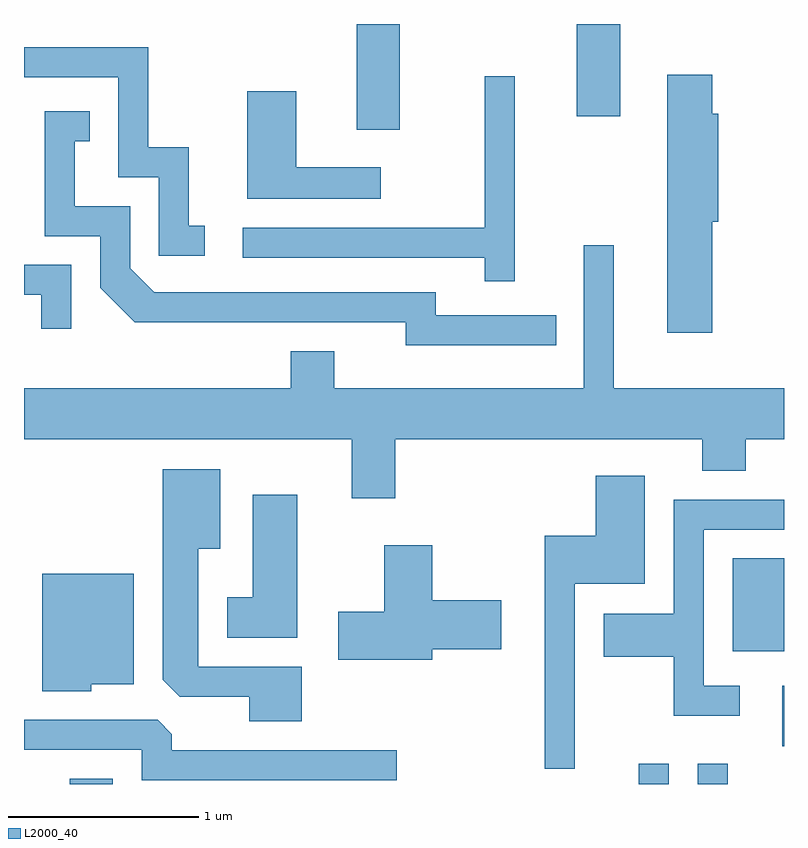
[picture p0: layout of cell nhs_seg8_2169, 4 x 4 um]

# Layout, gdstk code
import gdstk
lib = gdstk.Library(unit=1e-6, precision=1e-09)
def R(c, l, rs):  # rectangles x0, y0, x1, y1
    for r in rs: c.add(gdstk.rectangle(r[:2], r[2:], *l))
def P(c, l, *ps):  # polygons
    for p in ps: c.add(gdstk.Polygon(p, *l))
L2000_40 = (2000, 40)

nhs_seg8_2169 = lib.new_cell('nhs_seg8_2169')
R(nhs_seg8_2169, L2000_40, [(249.851,1872.342,250.079,1872.369), (252.846,1872.342,253.004,1872.448), (253.156,1872.342,253.314,1872.448), (253.601,1872.541,253.611,1872.859), (253.341,1873.041,253.611,1873.529), (251.361,1875.786,251.589,1876.342), (252.521,1875.856,252.749,1876.342)])
P(nhs_seg8_2169, L2000_40, [(250.563,1875.279),(250.479,1875.279),(250.479,1875.694),(250.264,1875.694),(250.264,1876.219),(249.611,1876.219),(249.611,1876.061),(250.106,1876.061),(250.106,1875.536),(250.321,1875.536),(250.321,1875.121),(250.563,1875.121)],
  [(253.234,1875.301),(253.264,1875.301),(253.264,1875.869),(253.234,1875.869),(253.234,1876.074),(252.996,1876.074),(252.996,1874.716),(253.234,1874.716)],
  [(252.194,1876.068),(252.036,1876.068),(252.036,1875.269),(250.763,1875.269),(250.763,1875.111),(252.036,1875.111),(252.036,1874.988),(252.194,1874.988)],
  [(251.488,1875.589),(251.044,1875.589),(251.044,1875.989),(250.786,1875.989),(250.786,1875.421),(251.488,1875.421)],
  [(252.413,1874.809),(251.779,1874.809),(251.779,1874.929),(250.297,1874.929),(250.169,1875.057),(250.169,1875.384),(249.879,1875.384),(249.879,1875.726),(249.958,1875.726),(249.958,1875.884),(249.721,1875.884),(249.721,1875.226),(250.011,1875.226),(250.011,1874.954),(250.194,1874.771),(251.621,1874.771),(251.621,1874.651),(252.413,1874.651)],
  [(251.564,1874.156),(253.181,1874.156),(253.181,1873.991),(253.409,1873.991),(253.409,1874.156),(253.611,1874.156),(253.611,1874.424),(252.714,1874.424),(252.714,1875.178),(252.556,1875.178),(252.556,1874.424),(251.244,1874.424),(251.244,1874.619),(251.016,1874.619),(251.016,1874.424),(249.611,1874.424),(249.611,1874.156),(251.336,1874.156),(251.336,1873.846),(251.564,1873.846)],
  [(249.859,1875.074),(249.611,1875.074),(249.611,1874.916),(249.701,1874.916),(249.701,1874.738),(249.859,1874.738)],
  [(251.074,1872.959),(250.529,1872.959),(250.529,1873.581),(250.644,1873.581),(250.644,1873.999),(250.341,1873.999),(250.341,1872.892),(250.432,1872.801),(250.796,1872.801),(250.796,1872.671),(251.074,1872.671)],
  [(252.509,1873.396),(252.879,1873.396),(252.879,1873.964),(252.621,1873.964),(252.621,1873.649),(252.351,1873.649),(252.351,1872.423),(252.509,1872.423)],
  [(251.049,1873.864),(250.816,1873.864),(250.816,1873.324),(250.681,1873.324),(250.681,1873.111),(251.049,1873.111)],
  [(253.378,1872.859),(253.189,1872.859),(253.189,1873.681),(253.611,1873.681),(253.611,1873.839),(253.031,1873.839),(253.031,1873.239),(252.661,1873.239),(252.661,1873.011),(253.031,1873.011),(253.031,1872.701),(253.378,1872.701)],
  [(251.759,1873.051),(252.124,1873.051),(252.124,1873.309),(251.759,1873.309),(251.759,1873.599),(251.506,1873.599),(251.506,1873.249),(251.266,1873.249),(251.266,1872.996),(251.759,1872.996)],
  [(249.964,1872.866),(250.189,1872.866),(250.189,1873.449),(249.706,1873.449),(249.706,1872.831),(249.964,1872.831)],
  [(251.573,1872.519),(250.389,1872.519),(250.389,1872.604),(250.314,1872.679),(249.611,1872.679),(249.611,1872.521),(250.231,1872.521),(250.231,1872.361),(251.573,1872.361)])

lib.write_gds('nhs_seg8_2169.gds')
